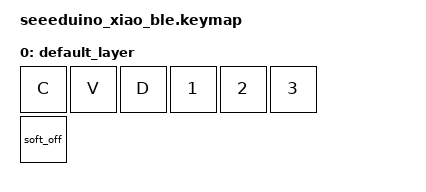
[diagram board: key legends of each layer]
#include <behaviors.dtsi>
#include <dt-bindings/zmk/keys.h>

/ {
    keymap {
        compatible = "zmk,keymap";

        default_layer {
            bindings = <
                &kp C        &kp V        &kp D        &kp N1       &kp N2       &kp N3
                &soft_off
            >;
        };
    };
};
